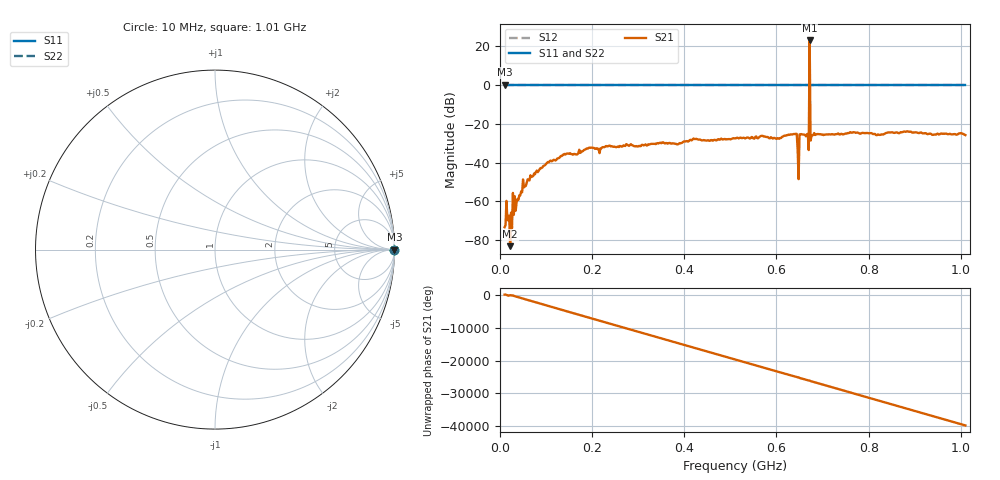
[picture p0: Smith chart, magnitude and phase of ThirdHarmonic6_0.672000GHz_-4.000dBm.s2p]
! 8/15/2025 10:22:02 PM
! C:\ANRITSUVNA\TEMP\TEMP.S2P
! CHANNEL.1
! TR.MEASUREMENT
! RAW.DATA
! RF.CORRECTION.OFF
! AVERAGING.OFF
! IF.BANDWIDTH: 5KHZ
! SWEEPTYPE:  FREQ.SWEEP(Linear)
! Reference Plane Port Info
! PORT:  PORT1  PORT2
! DISTANCE:  0  m  0  m
! TIME:  0  s  0  s
! PHASE.OFFSET:  0  deg.  0  deg.
! LOSS:  0  dB  0  dB
! REF.LOSS:  0  dB  0  dB
! REF.FREQ:  0  Hz  0  Hz
! Power Info
! POWER:  -20  dBm  -20  dBm
! EFF.POWER:  -20  dBm  -20  dBm
! SOURCE.ATTEN:  0  dB  0  dB
! TEST.ATTEN:  0  dB  0  dB
# GHZ S RI R 50.0
! FREQ.GHZ  S11RE  S11IM  S21RE  S21IM  S12RE  S12IM  S22RE  S22IM
!; PortSelection: Port_12
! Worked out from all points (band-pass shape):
!   501 points, 10 MHz to 1.01 GHz, reference 50 ohm
!   highest |S21| = 22.61 dB at 672 MHz (marker M1); lowest = -82.9 dB at 22 MHz (marker M2)
!   |S21| within 3 dB of the highest: 671.8933 MHz to 672.1168 MHz (223.5 kHz wide, 0.0333 % of centre)
!   lowest |S11| = 0.0 dB at 10 MHz (marker M3)
!   |S11| at or under -10 dB: nowhere
!   |S22| runs from 0.0 to 0.0 dB; largest |S21 - S12| = 14
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0.01  1 0  -9.63e-05 0.000197  1 0  1 0
0.016  1 0  4.37e-05 -0.00035  1 0  1 0
0.022  1 0  3.64e-05 -6.15e-05  1 0  1 0
0.032  1 0  0.00135 -0.000136  1 0  1 0
0.064  1 0  -0.00252 0.00239  1 0  1 0
0.106  1 0  -0.00719 -0.00712  1 0  1 0
0.178  1 0  -0.0191 -0.00386  1 0  1 0
0.344  1 0  0.0298 -0.00801  1 0  1 0
0.51  1 0  -0.038 0.0168  1 0  1 0
0.602  1 0  0.0203 0.0369  1 0  1 0
0.64  1 0  0.0461 -0.0273  1 0  1 0
0.642  1 0  -0.0194 -0.0511  1 0  1 0
0.644  1 0  -0.0528 0.0125  1 0  1 0
0.65  1 0  0.0118 -0.0511  1 0  1 0
0.654  1 0  -0.0298 0.0445  1 0  1 0
0.666  1 0  0.053 0.00032  1 0  1 0
0.668  1 0  0.00976 -0.0535  1 0  1 0
0.672  1 0  -11.82 -6.527  1 0  1 0
0.676  1 0  0.0339 -0.0334  1 0  1 0
0.678  1 0  -0.0264 -0.0421  1 0  1 0
0.844  1 0  0.0471 0.0354  1 0  1 0
1.01  1 0  -0.0501 -0.00648  1 0  1 0
